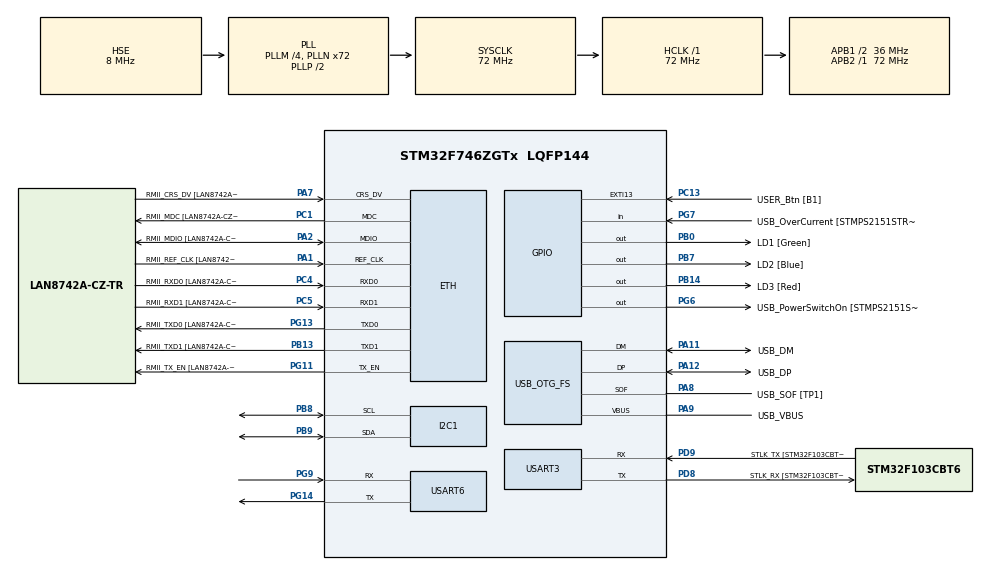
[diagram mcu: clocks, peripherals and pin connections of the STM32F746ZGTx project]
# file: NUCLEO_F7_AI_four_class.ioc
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CORTEX_M7.default_mode_Activation=1
ETH.MediaInterface=HAL_ETH_RMII_MODE
ETH.PHY_Name=LAN8742A_PHY_ADDRESS
ETH.PHY_Value=0
ETH.PhyAddress=0
I2C1.Timing=0x00808CD2
Mcu.Family=STM32F7
Mcu.Name=STM32F746ZGTx
Mcu.Package=LQFP144
NVIC.PriorityGroup=NVIC_PRIORITYGROUP_4
PA1.GPIO_Label=RMII_REF_CLK [LAN8742A-CZ-TR_REFCLK0]
PA1.Mode=RMII
PA1.Signal=ETH_REF_CLK
PA10.GPIO_Label=USB_ID
PA10.Signal=USB_OTG_FS_ID
PA11.GPIO_Label=USB_DM
PA11.Mode=Device_Only
PA11.Signal=USB_OTG_FS_DM
PA12.GPIO_Label=USB_DP
PA12.Mode=Device_Only
PA12.Signal=USB_OTG_FS_DP
PA13.GPIO_Label=TMS
PA13.Mode=Serial_Wire
PA13.Signal=SYS_JTMS-SWDIO
PA14.GPIO_Label=TCK
PA14.Mode=Serial_Wire
PA14.Signal=SYS_JTCK-SWCLK
PA2.GPIO_Label=RMII_MDIO [LAN8742A-CZ-TR_MDIO]
PA2.Mode=RMII
PA2.Signal=ETH_MDIO
PA7.GPIO_Label=RMII_CRS_DV [LAN8742A-CZ-TR_CRS_DV]
PA7.Mode=RMII
PA7.Signal=ETH_CRS_DV
PA8.GPIO_Label=USB_SOF [TP1]
PA8.Mode=Activate_SOF_FS
PA8.Signal=USB_OTG_FS_SOF
PA9.GPIO_Label=USB_VBUS
PA9.Mode=Activate_VBUS
PA9.Signal=USB_OTG_FS_VBUS
PB0.GPIO_Label=LD1 [Green]
PB0.Signal=GPIO_Output
PB13.GPIO_Label=RMII_TXD1 [LAN8742A-CZ-TR_TXD1]
PB13.Mode=RMII
PB13.Signal=ETH_TXD1
PB14.GPIO_Label=LD3 [Red]
PB14.Signal=GPIO_Output
PB3.GPIO_Label=SW0
PB3.Signal=SYS_JTDO-SWO
PB7.GPIO_Label=LD2 [Blue]
PB7.Signal=GPIO_Output
PB8.Mode=I2C
PB8.Signal=I2C1_SCL
PB9.Mode=I2C
PB9.Signal=I2C1_SDA
PC1.GPIO_Label=RMII_MDC [LAN8742A-CZ-TR_MDC]
PC1.Mode=RMII
PC1.Signal=ETH_MDC
PC13.GPIO_Label=USER_Btn [B1]
PC13.Signal=GPXTI13
PC14/OSC32_IN.Mode=LSE-External-Oscillator
PC14/OSC32_IN.Signal=RCC_OSC32_IN
PC15/OSC32_OUT.Mode=LSE-External-Oscillator
PC15/OSC32_OUT.Signal=RCC_OSC32_OUT
PC4.GPIO_Label=RMII_RXD0 [LAN8742A-CZ-TR_RXD0]
PC4.Mode=RMII
PC4.Signal=ETH_RXD0
PC5.GPIO_Label=RMII_RXD1 [LAN8742A-CZ-TR_RXD1]
PC5.Mode=RMII
PC5.Signal=ETH_RXD1
PD8.GPIO_Label=STLK_RX [STM32F103CBT6_PA3]
PD8.GPIO_PuPd=GPIO_PULLUP
PD8.Mode=Asynchronous
PD8.Signal=USART3_TX
PD9.GPIO_Label=STLK_TX [STM32F103CBT6_PA2]
PD9.GPIO_PuPd=GPIO_PULLUP
PD9.Mode=Asynchronous
PD9.Signal=USART3_RX
PG11.GPIO_Label=RMII_TX_EN [LAN8742A-CZ-TR_TXEN]
PG11.Mode=RMII
PG11.Signal=ETH_TX_EN
PG13.GPIO_Label=RMII_TXD0 [LAN8742A-CZ-TR_TXD0]
PG13.Mode=RMII
PG13.Signal=ETH_TXD0
PG14.Mode=Asynchronous
PG14.Signal=USART6_TX
PG6.GPIO_Label=USB_PowerSwitchOn [STMPS2151STR_EN]
PG6.Signal=GPIO_Output
PG7.GPIO_Label=USB_OverCurrent [STMPS2151STR_FAULT]
PG7.Signal=GPIO_Input
PG9.Mode=Asynchronous
PG9.Signal=USART6_RX
PH0/OSC_IN.GPIO_Label=MCO [STM32F103CBT6_PA8]
PH0/OSC_IN.Mode=HSE-External-Clock-Source
PH0/OSC_IN.Signal=RCC_OSC_IN
PH1/OSC_OUT.Mode=HSE-External-Clock-Source
PH1/OSC_OUT.Signal=RCC_OSC_OUT
ProjectManager.HeapSize=0x200
ProjectManager.StackSize=0x400
ProjectManager.TargetToolchain=STM32CubeIDE
RCC.48MHZClocksFreq_Value=24000000
RCC.AHBFreq_Value=72000000
RCC.APB1CLKDivider=RCC_HCLK_DIV2
RCC.APB1Freq_Value=36000000
RCC.APB1TimFreq_Value=72000000
RCC.APB2Freq_Value=72000000
RCC.APB2TimFreq_Value=72000000
RCC.CortexFreq_Value=72000000
RCC.HCLKFreq_Value=72000000
RCC.HSE_VALUE=8000000
RCC.HSI_VALUE=16000000
RCC.PLLM=4
RCC.PLLMUL=RCC_PLL_MUL9
RCC.PLLN=72
RCC.PLLQ=3
RCC.PRESCALERUSB=RCC_USBCLKSOURCE_PLL_DIV1_5
RCC.SYSCLKFreq_VALUE=72000000
RCC.SYSCLKSource=RCC_SYSCLKSOURCE_PLLCLK
RCC.SYSCLKSourceVirtual=RCC_SYSCLKSOURCE_PLLCLK
RCC.USBFreq_Value=48000000
RCC.VCOOutputFreq_Value=144000000
USART3.VirtualMode-Asynchronous=VM_ASYNC
USART6.VirtualMode-Asynchronous=VM_ASYNC
USB_OTG_FS.VirtualMode=Device_Only
board=NUCLEO-F746ZG

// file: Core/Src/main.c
/* USER CODE BEGIN Header */
/**
  ******************************************************************************
  * @file           : main.c
  * @brief          : Main program body
  ******************************************************************************
  * @attention
  *
  * Copyright (c) 2026 STMicroelectronics.
  * All rights reserved.
  *
  * This software is licensed under terms that can be found in the LICENSE file
  * in the root directory of this software component.
  * If no LICENSE file comes with this software, it is provided AS-IS.
  *
  ******************************************************************************
  */
/* USER CODE END Header */
#include "main.h"
#include "string.h"

/* USER CODE BEGIN Includes */

#include "ai_model.h"
#include "radar_live.h"
#include <math.h>
#include <stdio.h>

/* USER CODE END Includes */

#if defined ( __ICCARM__ ) /*!< IAR Compiler */
#pragma location=0x2004c000
ETH_DMADescTypeDef  DMARxDscrTab[ETH_RX_DESC_CNT]; /* Ethernet Rx DMA Descriptors */
#pragma location=0x2004c0a0
ETH_DMADescTypeDef  DMATxDscrTab[ETH_TX_DESC_CNT]; /* Ethernet Tx DMA Descriptors */

#elif defined ( __CC_ARM )  /* MDK ARM Compiler */

__attribute__((at(0x2004c000))) ETH_DMADescTypeDef  DMARxDscrTab[ETH_RX_DESC_CNT]; /* Ethernet Rx DMA Descriptors */
__attribute__((at(0x2004c0a0))) ETH_DMADescTypeDef  DMATxDscrTab[ETH_TX_DESC_CNT]; /* Ethernet Tx DMA Descriptors */

#elif defined ( __GNUC__ ) /* GNU Compiler */

ETH_DMADescTypeDef DMARxDscrTab[ETH_RX_DESC_CNT] __attribute__((section(".RxDecripSection"))); /* Ethernet Rx DMA Descriptors */
ETH_DMADescTypeDef DMATxDscrTab[ETH_TX_DESC_CNT] __attribute__((section(".TxDecripSection")));   /* Ethernet Tx DMA Descriptors */
#endif

ETH_TxPacketConfig TxConfig;

ETH_HandleTypeDef heth;

I2C_HandleTypeDef hi2c1;

UART_HandleTypeDef huart3;
UART_HandleTypeDef huart6;

PCD_HandleTypeDef hpcd_USB_OTG_FS;

/* USER CODE BEGIN PV */

#define RADAR_RX_RING_SIZE 2048U
#define RESULT_REPORT_PERIOD_MS 500U
#define RADAR_VERBOSE_DIAGNOSTICS 0U
#define USER_BUTTON_DEBOUNCE_MS 30U

#define RESULT_WALKING 0U
#define RESULT_STANDING 1U
#define RESULT_SITTING 2U
#define RESULT_FALL 3U
#define RESULT_TOO_CLOSE 4U
#define RESULT_TOO_FAR 5U
#define RESULT_STALE_DATA 6U
#define RESULT_EDGE_OF_FOV 7U

#define RADAR_TARGET_STALE_MS 250U
#define RADAR_ALERT_AZIMUTH_LIMIT_DEG 50.0f

static uint8_t radar_rx_byte;
static uint8_t radar_rx_ring[RADAR_RX_RING_SIZE];
static volatile uint16_t radar_rx_head;
static volatile uint16_t radar_rx_tail;
static volatile uint32_t radar_rx_dropped;
static volatile uint8_t radar_detection_enabled = 1U;
static uint8_t bridge_ready_message[] =
    "\r\nNUCLEO_F7_AI_four_class live four-class detector ready\r\n"
    "classes=[WALKING,STANDING,SITTING,FALL] input=60x7 sample_rate=20Hz z_mode=SENSOR_NATIVE\r\n"
    "target_selection=cluster_continuity zero_targets=RESET_WINDOW\r\n"
    "classification=argmax(logits)+softmax_probability guards=range+freshness+center_fov\r\n";
static char ai_status_message[320];
static float ai_self_test_output[AI_MODEL_OUTPUT_COUNT];
static float ai_live_output[AI_MODEL_OUTPUT_COUNT];
static uint8_t ai_ready;
static RadarLiveDiagnostics radar_diagnostics;
static uint8_t last_reported_result = 0xFFU;
static uint32_t last_result_report_ms;
static GPIO_PinState user_button_raw_state;
static GPIO_PinState user_button_stable_state;
static uint32_t user_button_change_ms;

static const char *const class_names[AI_MODEL_OUTPUT_COUNT] = {
    "WALKING", "STANDING", "SITTING", "FALL"};

/* USER CODE END PV */

void SystemClock_Config(void);
static void MPU_Config(void);
static void MX_GPIO_Init(void);
static void MX_ETH_Init(void);
static void MX_I2C1_Init(void);
static void MX_USART3_UART_Init(void);
static void MX_USB_OTG_FS_PCD_Init(void);
static void MX_USART6_UART_Init(void);

/* USER CODE BEGIN 0 */

static int32_t FloatToMicroUnits(float value)
{
  if (value >= 0.0f)
  {
    return (int32_t)((value * 1000000.0f) + 0.5f);
  }
  return (int32_t)((value * 1000000.0f) - 0.5f);
}

static uint32_t ClassifyLogits(const float logits[AI_MODEL_OUTPUT_COUNT],
                               uint32_t probabilities_permille[AI_MODEL_OUTPUT_COUNT])
{
  float maximum = logits[0];
  float exponentials[AI_MODEL_OUTPUT_COUNT];
  float total = 0.0f;
  uint32_t predicted = 0U;
  uint32_t index;

  for (index = 1U; index < AI_MODEL_OUTPUT_COUNT; ++index)
  {
    if (logits[index] > maximum)
    {
      maximum = logits[index];
      predicted = index;
    }
  }

  for (index = 0U; index < AI_MODEL_OUTPUT_COUNT; ++index)
  {
    exponentials[index] = expf(logits[index] - maximum);
    total += exponentials[index];
  }

  if (!(total > 0.0f) || !isfinite(total))
  {
    for (index = 0U; index < AI_MODEL_OUTPUT_COUNT; ++index)
      probabilities_permille[index] = 0U;
    probabilities_permille[predicted] = 1000U;
    return predicted;
  }

  for (index = 0U; index < AI_MODEL_OUTPUT_COUNT; ++index)
  {
    probabilities_permille[index] =
        (uint32_t)((1000.0f * exponentials[index] / total) + 0.5f);
  }
  return predicted;
}

static void RadarDetection_ReportState(const char *reason)
{
  int message_length = snprintf(ai_status_message, sizeof(ai_status_message),
      "DETECTION=%s reason=%s window=%lu\r\n",
      (radar_detection_enabled != 0U) ? "RUNNING" : "STOPPED", reason,
      (unsigned long)RadarLive_GetWindowCount());
  if (message_length > 0)
    HAL_UART_Transmit(&huart3, (uint8_t *)ai_status_message,
                      (uint16_t)message_length, 1000U);
}

static void RadarDetection_ResetPipeline(void)
{
  HAL_NVIC_DisableIRQ(USART6_IRQn);
  radar_rx_head = 0U;
  radar_rx_tail = 0U;
  (void)HAL_UART_AbortReceive(&huart6);
  RadarLive_Init();
  last_reported_result = 0xFFU;
  last_result_report_ms = 0U;
  __HAL_UART_CLEAR_OREFLAG(&huart6);
  (void)HAL_UART_Receive_IT(&huart6, &radar_rx_byte, 1U);
  HAL_NVIC_EnableIRQ(USART6_IRQn);
}

void RadarDetection_Start(void)
{
  if (radar_detection_enabled == 0U)
  {
    RadarDetection_ResetPipeline();
    radar_detection_enabled = 1U;
    HAL_GPIO_WritePin(LD1_GPIO_Port, LD1_Pin, GPIO_PIN_SET);
    HAL_GPIO_WritePin(LD3_GPIO_Port, LD3_Pin, GPIO_PIN_RESET);
    RadarDetection_ReportState("START");
  }
}

void RadarDetection_Stop(void)
{
  if (radar_detection_enabled != 0U)
  {
    radar_detection_enabled = 0U;
    RadarDetection_ResetPipeline();
    HAL_GPIO_WritePin(LD1_GPIO_Port, LD1_Pin, GPIO_PIN_RESET);
    HAL_GPIO_WritePin(LD3_GPIO_Port, LD3_Pin, GPIO_PIN_SET);
    RadarDetection_ReportState("STOP");
  }
}

void RadarDetection_Restart(void)
{
  radar_detection_enabled = 0U;
  RadarDetection_ResetPipeline();
  radar_detection_enabled = 1U;
  HAL_GPIO_WritePin(LD1_GPIO_Port, LD1_Pin, GPIO_PIN_SET);
  HAL_GPIO_WritePin(LD3_GPIO_Port, LD3_Pin, GPIO_PIN_RESET);
  RadarDetection_ReportState("RESTART");
}

uint8_t RadarDetection_IsEnabled(void)
{
  return radar_detection_enabled;
}

static void ProcessDetectionCommand(void)
{
  uint8_t command;
  if (HAL_UART_Receive(&huart3, &command, 1U, 0U) != HAL_OK)
    return;
  if ((command == 'S') || (command == 's')) RadarDetection_Stop();
  else if ((command == 'G') || (command == 'g')) RadarDetection_Start();
  else if ((command == 'R') || (command == 'r')) RadarDetection_Restart();
  else if ((command == 'T') || (command == 't'))
  {
    if (RadarDetection_IsEnabled() != 0U) RadarDetection_Stop();
    else RadarDetection_Start();
  }
  else if (command == '?') RadarDetection_ReportState("STATUS");
}

static void ProcessUserButton(void)
{
  GPIO_PinState current_state = HAL_GPIO_ReadPin(USER_Btn_GPIO_Port, USER_Btn_Pin);
  uint32_t now_ms = HAL_GetTick();
  if (current_state != user_button_raw_state)
  {
    user_button_raw_state = current_state;
    user_button_change_ms = now_ms;
  }
  if ((current_state != user_button_stable_state) &&
      ((now_ms - user_button_change_ms) >= USER_BUTTON_DEBOUNCE_MS))
  {
    user_button_stable_state = current_state;
    if (current_state == GPIO_PIN_SET)
    {
      if (RadarDetection_IsEnabled() != 0U) RadarDetection_Stop();
      else RadarDetection_Start();
    }
  }
}
void HAL_UART_RxCpltCallback(UART_HandleTypeDef *huart)
{
  if (huart->Instance == USART6)
  {
    uint16_t next_head = (uint16_t)((radar_rx_head + 1U) % RADAR_RX_RING_SIZE);
    if ((radar_detection_enabled != 0U) && (next_head != radar_rx_tail))
    {
      radar_rx_ring[radar_rx_head] = radar_rx_byte;
      radar_rx_head = next_head;
    }
    else
    {
      ++radar_rx_dropped;
    }
    (void)HAL_UART_Receive_IT(&huart6, &radar_rx_byte, 1U);
  }
}

void HAL_UART_ErrorCallback(UART_HandleTypeDef *huart)
{
  if (huart->Instance == USART6)
  {
    __HAL_UART_CLEAR_OREFLAG(huart);
    (void)HAL_UART_Receive_IT(&huart6, &radar_rx_byte, 1U);
  }
}

/* USER CODE END 0 */

int main(void)
{

  /* MPU Configuration--------------------------------------------------------*/
  MPU_Config();

  /* MCU Configuration--------------------------------------------------------*/

  /* Reset of all peripherals, Initializes the Flash interface and the Systick. */
  HAL_Init();

  /* Configure the system clock */
  SystemClock_Config();

  /* Initialize all configured peripherals */
  MX_GPIO_Init();
  MX_ETH_Init();
  MX_I2C1_Init();
  MX_USART3_UART_Init();
  MX_USB_OTG_FS_PCD_Init();
  MX_USART6_UART_Init();
  /* USER CODE BEGIN 2 */

  HAL_UART_Transmit(&huart3, bridge_ready_message,
                    sizeof(bridge_ready_message) - 1U, 1000U);

  {
    int32_t ai_status = AI_Model_Init();
    if (ai_status == 0)
    {
      ai_status = AI_Model_RunSelfTest(ai_self_test_output);
    }

    if (ai_status == 0)
    {
      ai_ready = 1U;
      uint32_t self_test_probabilities[AI_MODEL_OUTPUT_COUNT];
      uint32_t predicted_class =
          ClassifyLogits(ai_self_test_output, self_test_probabilities);
      int message_length = snprintf(
          ai_status_message, sizeof(ai_status_message),
          "AI SELFTEST OK input=60x7 logits_x1e6=[%ld,%ld,%ld,%ld] class=%s probs_permille=[%lu,%lu,%lu,%lu]\r\n",
          (long)FloatToMicroUnits(ai_self_test_output[0]),
          (long)FloatToMicroUnits(ai_self_test_output[1]),
          (long)FloatToMicroUnits(ai_self_test_output[2]),
          (long)FloatToMicroUnits(ai_self_test_output[3]),
          class_names[predicted_class],
          (unsigned long)self_test_probabilities[0],
          (unsigned long)self_test_probabilities[1],
          (unsigned long)self_test_probabilities[2],
          (unsigned long)self_test_probabilities[3]);
      if (message_length > 0)
      {
        HAL_UART_Transmit(&huart3, (uint8_t *)ai_status_message,
                          (uint16_t)message_length, 1000U);
      }
    }
    else
    {
      int message_length = snprintf(
          ai_status_message, sizeof(ai_status_message),
          "AI SELFTEST ERROR code=%ld\r\n", (long)ai_status);
      if (message_length > 0)
      {
        HAL_UART_Transmit(&huart3, (uint8_t *)ai_status_message,
                          (uint16_t)message_length, 1000U);
      }
    }
  }

  RadarLive_Init();
  HAL_NVIC_SetPriority(USART6_IRQn, 5U, 0U);
  HAL_NVIC_EnableIRQ(USART6_IRQn);
  (void)HAL_UART_Receive_IT(&huart6, &radar_rx_byte, 1U);

  user_button_raw_state = HAL_GPIO_ReadPin(USER_Btn_GPIO_Port, USER_Btn_Pin);
  user_button_stable_state = user_button_raw_state;
  user_button_change_ms = HAL_GetTick();
  HAL_GPIO_WritePin(LD1_GPIO_Port, LD1_Pin, GPIO_PIN_SET);
  HAL_GPIO_WritePin(LD3_GPIO_Port, LD3_Pin, GPIO_PIN_RESET);
  RadarDetection_ReportState("BOOT");

  /* USER CODE END 2 */

  /* Infinite loop */
  /* USER CODE BEGIN WHILE */
  while (1)
  {
    RadarLiveEvent event;
    /* USER CODE END WHILE */

    /* USER CODE BEGIN 3 */
    ProcessDetectionCommand();
    ProcessUserButton();

    if (radar_detection_enabled == 0U)
    {
      continue;
    }

    if (radar_rx_tail != radar_rx_head)
    {
      uint8_t received_byte = radar_rx_ring[radar_rx_tail];
      radar_rx_tail = (uint16_t)((radar_rx_tail + 1U) % RADAR_RX_RING_SIZE);
      (void)RadarLive_ProcessByte(received_byte, HAL_GetTick());
    }

    event = RadarLive_Tick(HAL_GetTick());
    if (event == RADAR_LIVE_TARGET_LOST)
      {
        int message_length;
        last_reported_result = RESULT_STALE_DATA;
        message_length = snprintf(
            ai_status_message, sizeof(ai_status_message),
            "RESULT=NO_TARGET action=WAIT_FOR_REACQUIRE window=RESET\r\n");
        if (message_length > 0)
        {
          HAL_UART_Transmit(&huart3, (uint8_t *)ai_status_message,
                            (uint16_t)message_length, 1000U);
        }
      }
    else if (event == RADAR_LIVE_INFERENCE_READY && ai_ready != 0U)
      {
        int32_t ai_status = AI_Model_Run(RadarLive_GetModelInput(), ai_live_output);
        if (ai_status == 0)
        {
          uint8_t effective_result;
          uint32_t now_ms = HAL_GetTick();
          uint32_t class_probabilities[AI_MODEL_OUTPUT_COUNT];
          RadarLive_GetDiagnostics(&radar_diagnostics);
          if (radar_diagnostics.latest_target_age_ms > RADAR_TARGET_STALE_MS)
          {
            effective_result = RESULT_STALE_DATA;
          }
          else if (radar_diagnostics.range_quality == RADAR_RANGE_TOO_CLOSE)
          {
            effective_result = RESULT_TOO_CLOSE;
          }
          else if (radar_diagnostics.range_quality == RADAR_RANGE_TOO_FAR)
          {
            effective_result = RESULT_TOO_FAR;
          }
          else if (fabsf(radar_diagnostics.latest_azimuth_deg) >
                   RADAR_ALERT_AZIMUTH_LIMIT_DEG)
          {
            effective_result = RESULT_EDGE_OF_FOV;
          }
          else
          {
            effective_result = (uint8_t)ClassifyLogits(
                ai_live_output, class_probabilities);
          }

          if ((effective_result != last_reported_result) ||
              ((now_ms - last_result_report_ms) >= RESULT_REPORT_PERIOD_MS))
          {
            int message_length;
            if (effective_result == RESULT_STALE_DATA)
            {
              message_length = snprintf(
                  ai_status_message, sizeof(ai_status_message),
                  "RESULT=NO_FRESH_TARGET age_ms=%lu action=CHECK_RADAR\r\n",
                  (unsigned long)radar_diagnostics.latest_target_age_ms);
            }
            else if (effective_result == RESULT_TOO_CLOSE)
            {
              message_length = snprintf(
                  ai_status_message, sizeof(ai_status_message),
                  "RESULT=TOO_CLOSE distance_cm=%ld minimum_cm=50\r\n",
                  (long)(radar_diagnostics.latest_range * 100.0f));
            }
            else if (effective_result == RESULT_TOO_FAR)
            {
              message_length = snprintf(
                  ai_status_message, sizeof(ai_status_message),
                  "RESULT=TOO_FAR distance_cm=%ld action=MOVE_CLOSER\r\n",
                  (long)(radar_diagnostics.latest_range * 100.0f));
            }
            else if (effective_result == RESULT_EDGE_OF_FOV)
            {
              message_length = snprintf(
                  ai_status_message, sizeof(ai_status_message),
                  "RESULT=EDGE_OF_FOV azimuth_deg=%ld action=RETURN_TO_CENTER\r\n",
                  (long)radar_diagnostics.latest_azimuth_deg);
            }
            else
            {
              const char *result_name = class_names[effective_result];
              message_length = snprintf(
                  ai_status_message, sizeof(ai_status_message),
                  "RESULT=%s class=%u probs_permille=[%lu,%lu,%lu,%lu] targets=%lu cluster=%ld range_cm=%ld az_deg=%ld xyz_cm=[%ld,%ld,%ld]\r\n",
                  result_name, (unsigned int)effective_result,
                  (unsigned long)class_probabilities[0],
                  (unsigned long)class_probabilities[1],
                  (unsigned long)class_probabilities[2],
                  (unsigned long)class_probabilities[3],
                  (unsigned long)radar_diagnostics.latest_target_count,
                  (long)radar_diagnostics.latest_cluster_id,
                  (long)(radar_diagnostics.latest_range * 100.0f),
                  (long)radar_diagnostics.latest_azimuth_deg,
                  (long)(radar_diagnostics.latest_x * 100.0f),
                  (long)(radar_diagnostics.latest_y * 100.0f),
                  (long)(radar_diagnostics.latest_z * 100.0f));
            }

            last_reported_result = effective_result;
            last_result_report_ms = now_ms;
            if (message_length > 0)
            {
              HAL_UART_Transmit(&huart3, (uint8_t *)ai_status_message,
                                (uint16_t)message_length, 1000U);
            }
          }

#if RADAR_VERBOSE_DIAGNOSTICS
          {
            int message_length = snprintf(
                ai_status_message, sizeof(ai_status_message),
                "DEBUG range_mm=%ld sensor_z_mm=%ld model_z_mm=%ld dt_ms=%lu age_ms=%lu frames=%lu invalid=%lu dropped=%lu\r\n",
                (long)(radar_diagnostics.latest_range * 1000.0f),
                (long)(radar_diagnostics.latest_sensor_z * 1000.0f),
                (long)(radar_diagnostics.latest_z * 1000.0f),
                (unsigned long)radar_diagnostics.last_sample_interval_ms,
                (unsigned long)radar_diagnostics.latest_target_age_ms,
                (unsigned long)RadarLive_GetValidFrameCount(),
                (unsigned long)RadarLive_GetInvalidFrameCount(),
                (unsigned long)radar_rx_dropped);
            if (message_length > 0)
            {
              HAL_UART_Transmit(&huart3, (uint8_t *)ai_status_message,
                                (uint16_t)message_length, 1000U);
            }
          }
#endif
        }
        else
        {
          int message_length = snprintf(
              ai_status_message, sizeof(ai_status_message),
              "AI LIVE ERROR code=%ld\r\n", (long)ai_status);
          if (message_length > 0)
          {
            HAL_UART_Transmit(&huart3, (uint8_t *)ai_status_message,
                              (uint16_t)message_length, 1000U);
          }
        }
      }
    else if (event == RADAR_LIVE_SAMPLE_ADDED &&
               (RadarLive_GetWindowCount() % 10U) == 0U &&
               RadarLive_GetWindowCount() < AI_MODEL_FRAME_COUNT)
      {
        RadarLive_GetDiagnostics(&radar_diagnostics);
        int message_length = snprintf(
            ai_status_message, sizeof(ai_status_message),
            "WARMUP %lu/60\r\n",
            (unsigned long)RadarLive_GetWindowCount());
        if (message_length > 0)
        {
          HAL_UART_Transmit(&huart3, (uint8_t *)ai_status_message,
                            (uint16_t)message_length, 1000U);
        }
      }
  }
  /* USER CODE END 3 */
}

void SystemClock_Config(void)
{
  RCC_OscInitTypeDef RCC_OscInitStruct = {0};
  RCC_ClkInitTypeDef RCC_ClkInitStruct = {0};

  /** Configure LSE Drive Capability
  */
  HAL_PWR_EnableBkUpAccess();

  /** Configure the main internal regulator output voltage
  */
  __HAL_RCC_PWR_CLK_ENABLE();
  __HAL_PWR_VOLTAGESCALING_CONFIG(PWR_REGULATOR_VOLTAGE_SCALE3);

  /** Initializes the RCC Oscillators according to the specified parameters
  * in the RCC_OscInitTypeDef structure.
  */
  RCC_OscInitStruct.OscillatorType = RCC_OSCILLATORTYPE_HSE;
  RCC_OscInitStruct.HSEState = RCC_HSE_BYPASS;
  RCC_OscInitStruct.PLL.PLLState = RCC_PLL_ON;
  RCC_OscInitStruct.PLL.PLLSource = RCC_PLLSOURCE_HSE;
  RCC_OscInitStruct.PLL.PLLM = 4;
  RCC_OscInitStruct.PLL.PLLN = 72;
  RCC_OscInitStruct.PLL.PLLP = RCC_PLLP_DIV2;
  RCC_OscInitStruct.PLL.PLLQ = 3;
  if (HAL_RCC_OscConfig(&RCC_OscInitStruct) != HAL_OK)
  {
    Error_Handler();
  }

  /** Initializes the CPU, AHB and APB buses clocks
  */
  RCC_ClkInitStruct.ClockType = RCC_CLOCKTYPE_HCLK|RCC_CLOCKTYPE_SYSCLK
                              |RCC_CLOCKTYPE_PCLK1|RCC_CLOCKTYPE_PCLK2;
  RCC_ClkInitStruct.SYSCLKSource = RCC_SYSCLKSOURCE_PLLCLK;
  RCC_ClkInitStruct.AHBCLKDivider = RCC_SYSCLK_DIV1;
  RCC_ClkInitStruct.APB1CLKDivider = RCC_HCLK_DIV2;
  RCC_ClkInitStruct.APB2CLKDivider = RCC_HCLK_DIV1;

  if (HAL_RCC_ClockConfig(&RCC_ClkInitStruct, FLASH_LATENCY_2) != HAL_OK)
  {
    Error_Handler();
  }
}

static void MX_ETH_Init(void)
{

   static uint8_t MACAddr[6];

  heth.Instance = ETH;
  MACAddr[0] = 0x00;
  MACAddr[1] = 0x80;
  MACAddr[2] = 0xE1;
  MACAddr[3] = 0x00;
  MACAddr[4] = 0x00;
  MACAddr[5] = 0x00;
  heth.Init.MACAddr = &MACAddr[0];
  heth.Init.MediaInterface = HAL_ETH_RMII_MODE;
  heth.Init.TxDesc = DMATxDscrTab;
  heth.Init.RxDesc = DMARxDscrTab;
  heth.Init.RxBuffLen = 1524;

  if (HAL_ETH_Init(&heth) != HAL_OK)
  {
    Error_Handler();
  }

  memset(&TxConfig, 0 , sizeof(ETH_TxPacketConfig));
  TxConfig.Attributes = ETH_TX_PACKETS_FEATURES_CSUM | ETH_TX_PACKETS_FEATURES_CRCPAD;
  TxConfig.ChecksumCtrl = ETH_CHECKSUM_IPHDR_PAYLOAD_INSERT_PHDR_CALC;
  TxConfig.CRCPadCtrl = ETH_CRC_PAD_INSERT;

}

static void MX_I2C1_Init(void)
{

  hi2c1.Instance = I2C1;
  hi2c1.Init.Timing = 0x00808CD2;
  hi2c1.Init.OwnAddress1 = 0;
  hi2c1.Init.AddressingMode = I2C_ADDRESSINGMODE_7BIT;
  hi2c1.Init.DualAddressMode = I2C_DUALADDRESS_DISABLE;
  hi2c1.Init.OwnAddress2 = 0;
  hi2c1.Init.OwnAddress2Masks = I2C_OA2_NOMASK;
  hi2c1.Init.GeneralCallMode = I2C_GENERALCALL_DISABLE;
  hi2c1.Init.NoStretchMode = I2C_NOSTRETCH_DISABLE;
  if (HAL_I2C_Init(&hi2c1) != HAL_OK)
  {
    Error_Handler();
  }

  /** Configure Analogue filter
  */
  if (HAL_I2CEx_ConfigAnalogFilter(&hi2c1, I2C_ANALOGFILTER_ENABLE) != HAL_OK)
  {
    Error_Handler();
  }

  /** Configure Digital filter
  */
  if (HAL_I2CEx_ConfigDigitalFilter(&hi2c1, 0) != HAL_OK)
  {
    Error_Handler();
  }

}

static void MX_USART3_UART_Init(void)
{

  huart3.Instance = USART3;
  huart3.Init.BaudRate = 115200;
  huart3.Init.WordLength = UART_WORDLENGTH_8B;
  huart3.Init.StopBits = UART_STOPBITS_1;
  huart3.Init.Parity = UART_PARITY_NONE;
  huart3.Init.Mode = UART_MODE_TX_RX;
  huart3.Init.HwFlowCtl = UART_HWCONTROL_NONE;
  huart3.Init.OverSampling = UART_OVERSAMPLING_16;
  huart3.Init.OneBitSampling = UART_ONE_BIT_SAMPLE_DISABLE;
  huart3.AdvancedInit.AdvFeatureInit = UART_ADVFEATURE_NO_INIT;
  if (HAL_UART_Init(&huart3) != HAL_OK)
  {
    Error_Handler();
  }

}

static void MX_USART6_UART_Init(void)
{

  huart6.Instance = USART6;
  huart6.Init.BaudRate = 115200;
  huart6.Init.WordLength = UART_WORDLENGTH_8B;
  huart6.Init.StopBits = UART_STOPBITS_1;
  huart6.Init.Parity = UART_PARITY_NONE;
  huart6.Init.Mode = UART_MODE_TX_RX;
  huart6.Init.HwFlowCtl = UART_HWCONTROL_NONE;
  huart6.Init.OverSampling = UART_OVERSAMPLING_16;
  huart6.Init.OneBitSampling = UART_ONE_BIT_SAMPLE_DISABLE;
  huart6.AdvancedInit.AdvFeatureInit = UART_ADVFEATURE_NO_INIT;
  if (HAL_UART_Init(&huart6) != HAL_OK)
  {
    Error_Handler();
  }

}

static void MX_USB_OTG_FS_PCD_Init(void)
{

  hpcd_USB_OTG_FS.Instance = USB_OTG_FS;
  hpcd_USB_OTG_FS.Init.dev_endpoints = 6;
  hpcd_USB_OTG_FS.Init.speed = PCD_SPEED_FULL;
  hpcd_USB_OTG_FS.Init.dma_enable = DISABLE;
  hpcd_USB_OTG_FS.Init.phy_itface = PCD_PHY_EMBEDDED;
  hpcd_USB_OTG_FS.Init.Sof_enable = ENABLE;
  hpcd_USB_OTG_FS.Init.low_power_enable = DISABLE;
  hpcd_USB_OTG_FS.Init.lpm_enable = DISABLE;
  hpcd_USB_OTG_FS.Init.vbus_sensing_enable = ENABLE;
  hpcd_USB_OTG_FS.Init.use_dedicated_ep1 = DISABLE;
  if (HAL_PCD_Init(&hpcd_USB_OTG_FS) != HAL_OK)
  {
    Error_Handler();
  }

}

static void MX_GPIO_Init(void)
{
  GPIO_InitTypeDef GPIO_InitStruct = {0};

  /* GPIO Ports Clock Enable */
  __HAL_RCC_GPIOC_CLK_ENABLE();
  __HAL_RCC_GPIOH_CLK_ENABLE();
  __HAL_RCC_GPIOA_CLK_ENABLE();
  __HAL_RCC_GPIOB_CLK_ENABLE();
  __HAL_RCC_GPIOD_CLK_ENABLE();
  __HAL_RCC_GPIOG_CLK_ENABLE();

  /*Configure GPIO pin Output Level */
  HAL_GPIO_WritePin(GPIOB, LD1_Pin|LD3_Pin|LD2_Pin, GPIO_PIN_RESET);

  /*Configure GPIO pin Output Level */
  HAL_GPIO_WritePin(USB_PowerSwitchOn_GPIO_Port, USB_PowerSwitchOn_Pin, GPIO_PIN_RESET);

  /*Configure GPIO pin : USER_Btn_Pin */
  GPIO_InitStruct.Pin = USER_Btn_Pin;
  GPIO_InitStruct.Mode = GPIO_MODE_IT_RISING;
  GPIO_InitStruct.Pull = GPIO_NOPULL;
  HAL_GPIO_Init(USER_Btn_GPIO_Port, &GPIO_InitStruct);

  /*Configure GPIO pins : LD1_Pin LD3_Pin LD2_Pin */
  GPIO_InitStruct.Pin = LD1_Pin|LD3_Pin|LD2_Pin;
  GPIO_InitStruct.Mode = GPIO_MODE_OUTPUT_PP;
  GPIO_InitStruct.Pull = GPIO_NOPULL;
  GPIO_InitStruct.Speed = GPIO_SPEED_FREQ_LOW;
  HAL_GPIO_Init(GPIOB, &GPIO_InitStruct);

  /*Configure GPIO pin : USB_PowerSwitchOn_Pin */
  GPIO_InitStruct.Pin = USB_PowerSwitchOn_Pin;
  GPIO_InitStruct.Mode = GPIO_MODE_OUTPUT_PP;
  GPIO_InitStruct.Pull = GPIO_NOPULL;
  GPIO_InitStruct.Speed = GPIO_SPEED_FREQ_LOW;
  HAL_GPIO_Init(USB_PowerSwitchOn_GPIO_Port, &GPIO_InitStruct);

  /*Configure GPIO pin : USB_OverCurrent_Pin */
  GPIO_InitStruct.Pin = USB_OverCurrent_Pin;
  GPIO_InitStruct.Mode = GPIO_MODE_INPUT;
  GPIO_InitStruct.Pull = GPIO_NOPULL;
  HAL_GPIO_Init(USB_OverCurrent_GPIO_Port, &GPIO_InitStruct);

}

 /* MPU Configuration */

void MPU_Config(void)
{
  MPU_Region_InitTypeDef MPU_InitStruct = {0};

  /* Disables the MPU */
  HAL_MPU_Disable();

  /** Initializes and configures the Region and the memory to be protected
  */
  MPU_InitStruct.Enable = MPU_REGION_ENABLE;
  MPU_InitStruct.Number = MPU_REGION_NUMBER0;
  MPU_InitStruct.BaseAddress = 0x0;
  MPU_InitStruct.Size = MPU_REGION_SIZE_4GB;
  MPU_InitStruct.SubRegionDisable = 0x87;
  MPU_InitStruct.TypeExtField = MPU_TEX_LEVEL0;
  MPU_InitStruct.AccessPermission = MPU_REGION_NO_ACCESS;
  MPU_InitStruct.DisableExec = MPU_INSTRUCTION_ACCESS_DISABLE;
  MPU_InitStruct.IsShareable = MPU_ACCESS_SHAREABLE;
  MPU_InitStruct.IsCacheable = MPU_ACCESS_NOT_CACHEABLE;
  MPU_InitStruct.IsBufferable = MPU_ACCESS_NOT_BUFFERABLE;

  HAL_MPU_ConfigRegion(&MPU_InitStruct);
  /* Enables the MPU */
  HAL_MPU_Enable(MPU_PRIVILEGED_DEFAULT);

}

void Error_Handler(void)
{
  __disable_irq();
  while (1)
  {
  }
}
